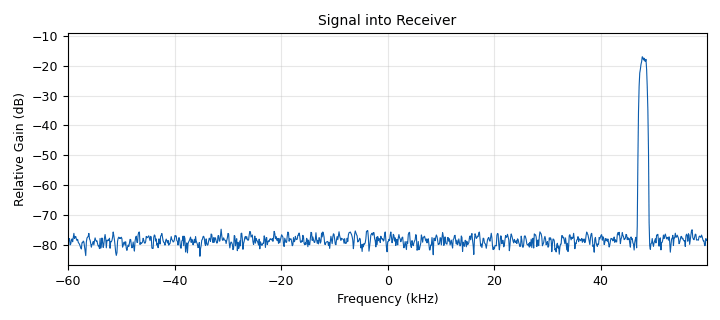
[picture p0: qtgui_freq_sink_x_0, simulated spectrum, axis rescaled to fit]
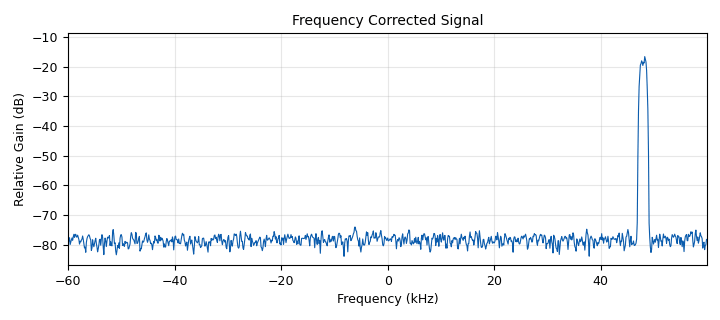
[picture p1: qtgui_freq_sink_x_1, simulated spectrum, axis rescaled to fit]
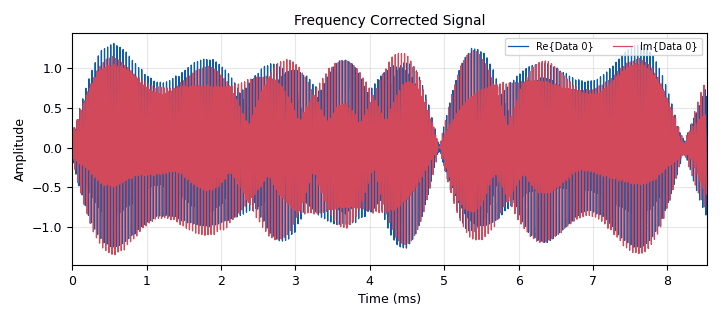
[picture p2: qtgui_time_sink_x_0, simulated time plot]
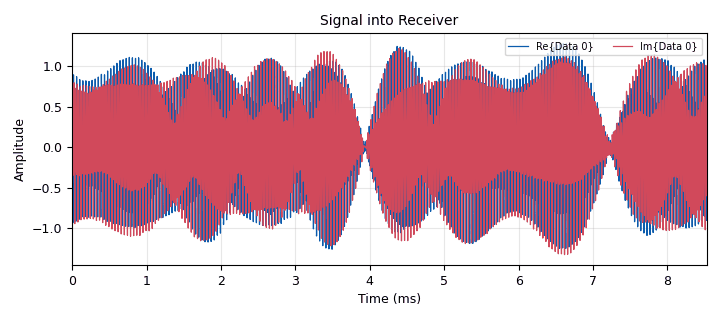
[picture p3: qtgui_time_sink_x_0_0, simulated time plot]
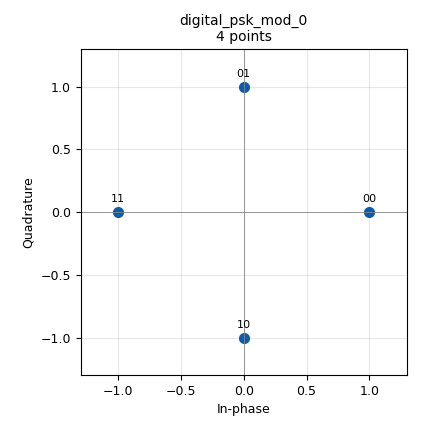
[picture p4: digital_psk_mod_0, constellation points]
options:
  parameters:
    category: Custom
    generate_options: qt_gui
    id: digital_freq_lock
    output_language: python
  states: {}

blocks:
- name: freq_bw
  id: variable_qtgui_range
  parameters:
    gui_hint: 1, 0, 1, 2
    start: '0'
    step: '0.001'
    stop: '3'
    value: '0'
  states: {}
- name: freq_offset
  id: variable_qtgui_range
  parameters:
    gui_hint: 0, 1, 1, 1
    label: Frequency Offset
    start: '-.5'
    step: '0.01'
    stop: '.5'
    value: '.4'
  states: {}
- name: noise_amp
  id: variable_qtgui_range
  parameters:
    gui_hint: 0, 0, 1, 1
    label: Channel Noise
    start: '0'
    step: '0.01'
    stop: '1'
    value: '.01'
  states: {}
- name: rolloff
  id: variable
  parameters:
    value: '0.35'
  states: {}
- name: samp_rate
  id: variable
  parameters:
    value: 1200*100
  states: {}
- name: sps
  id: variable
  parameters:
    value: '100'
  states: {}
- name: analog_random_source_x
  id: analog_random_source_x
  parameters:
    max: '256'
    min: '0'
    num_samps: '10000000'
    repeat: 'True'
    type: byte
  states: {}
- name: blocks_repeat_0
  id: blocks_repeat
  parameters:
    interp: '10'
    type: complex
  states: {state: bypassed}
- name: blocks_throttle_0
  id: blocks_throttle
  parameters:
    samples_per_second: samp_rate
    type: complex
  states: {}
- name: channels_channel_model_0
  id: channels_channel_model
  parameters:
    epsilon: '1.0'
    freq_offset: freq_offset
    noise_voltage: noise_amp
    seed: '42'
    taps: '1.0'
  states: {}
- name: digital_costas_loop_cc_0
  id: digital_costas_loop_cc
  parameters:
    order: '3'
    w: 3.14/100
  states: {}
- name: digital_fll_band_edge_cc_0
  id: digital_fll_band_edge_cc
  parameters:
    filter_size: int(samp_rate/1000)
    rolloff: rolloff
    samps_per_sym: sps
    type: cc
    w: freq_bw
  states: {}
- name: digital_psk_mod_0
  id: digital_psk_mod
  parameters:
    constellation_points: '4'
    differential: 'False'
    excess_bw: rolloff
    mod_code: '"gray"'
    samples_per_symbol: sps
  states: {}
- name: notebook
  id: qtgui_tab_widget
  parameters:
    gui_hint: 2, 0, 1, 2
    label0: Frequency
    label1: Time
    num_tabs: '2'
  states: {}
- name: qtgui_freq_sink_x_0
  id: qtgui_freq_sink_x
  parameters:
    average: '0.1'
    bw: samp_rate
    fc: '0'
    fftsize: '1024'
    gui_hint: notebook@0
    name: Signal into Receiver
    showports: 'True'
    type: complex
    ymax: '-20'
    ymin: '-120'
  states: {}
- name: qtgui_freq_sink_x_1
  id: qtgui_freq_sink_x
  parameters:
    average: '0.1'
    bw: samp_rate
    fc: '0'
    fftsize: '1024'
    gui_hint: notebook@0
    name: Frequency Corrected Signal
    showports: 'True'
    type: complex
    ymax: '-20'
    ymin: '-120'
  states: {}
- name: qtgui_time_sink_x_0
  id: qtgui_time_sink_x
  parameters:
    autoscale: 'True'
    gui_hint: notebook@1
    label1: ''
    label2: ''
    name: Frequency Corrected Signal
    size: '1024'
    srate: samp_rate
    type: complex
  states: {}
- name: qtgui_time_sink_x_0_0
  id: qtgui_time_sink_x
  parameters:
    autoscale: 'True'
    gui_hint: notebook@1
    label1: ''
    label2: ''
    name: Signal into Receiver
    size: '1024'
    srate: samp_rate
    type: complex
  states: {}

connections:
- [analog_random_source_x, '0', digital_psk_mod_0, '0']
- [blocks_repeat_0, '0', channels_channel_model_0, '0']
- [blocks_throttle_0, '0', blocks_repeat_0, '0']
- [channels_channel_model_0, '0', digital_costas_loop_cc_0, '0']
- [channels_channel_model_0, '0', qtgui_freq_sink_x_0, '0']
- [channels_channel_model_0, '0', qtgui_time_sink_x_0_0, '0']
- [digital_costas_loop_cc_0, '0', digital_fll_band_edge_cc_0, '0']
- [digital_fll_band_edge_cc_0, '0', qtgui_freq_sink_x_1, '0']
- [digital_fll_band_edge_cc_0, '0', qtgui_time_sink_x_0, '0']
- [digital_psk_mod_0, '0', blocks_throttle_0, '0']

metadata:
  file_format: 1
